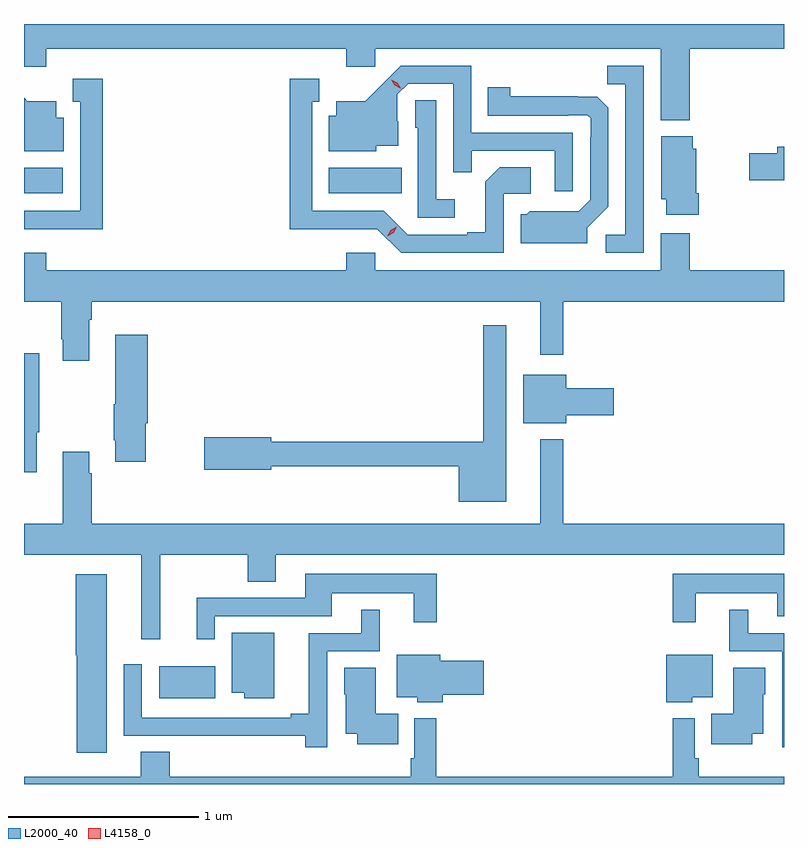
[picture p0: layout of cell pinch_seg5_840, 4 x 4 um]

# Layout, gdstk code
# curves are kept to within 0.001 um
import gdstk
lib = gdstk.Library(unit=1e-6, precision=1e-09)
def R(c, l, rs):  # rectangles x0, y0, x1, y1
    for r in rs: c.add(gdstk.rectangle(r[:2], r[2:], *l))
def P(c, l, *ps):  # polygons
    for p in ps: c.add(gdstk.Polygon(p, *l))
L2000_40 = (2000, 40)
L4158_0 = (4158, 0)

pinch_seg5_840 = lib.new_cell('pinch_seg5_840')
R(pinch_seg5_840, L2000_40, [(794.045,886.64,794.338,886.81), (793.332,889.298,793.537,889.432), (794.936,889.298,795.32,889.432)])
P(pinch_seg5_840, L2000_40, [(796.835,890.06),(797.332,890.06),(797.332,890.189),(793.332,890.189),(793.332,889.965),(793.448,889.965),(793.448,890.06),(795.029,890.06),(795.029,889.965),(795.18,889.965),(795.18,890.06),(796.682,890.06),(796.682,889.682),(796.835,889.682)],
  [(796.221,889.617),(795.687,889.617),(795.687,889.968),(795.314,889.968),(795.127,889.783),(794.975,889.783),(794.975,889.705),(794.936,889.705),(794.936,889.52),(795.186,889.52),(795.186,889.547),(795.301,889.547),(795.301,889.676),(795.297,889.676),(795.297,889.818),(795.354,889.875),(795.591,889.875),(795.591,889.408),(795.689,889.408),(795.689,889.521),(796.125,889.521),(796.125,889.308),(796.221,889.308)],
  [(796.593,889.968),(796.402,889.968),(796.402,889.873),(796.497,889.873),(796.497,889.08),(796.395,889.08),(796.395,888.984),(796.593,888.984)],
  [(795.858,889.296),(796,889.296),(796,889.436),(795.835,889.436),(795.759,889.36),(795.759,889.093),(795.665,889.093),(795.665,889.08),(795.351,889.08),(795.225,889.206),(794.848,889.206),(794.848,889.779),(794.887,889.779),(794.887,889.9),(794.73,889.9),(794.73,889.109),(795.192,889.11),(795.318,888.984),(795.858,888.984)],
  [(793.747,889.9),(793.589,889.9),(793.589,889.779),(793.628,889.779),(793.628,889.206),(793.332,889.206),(793.332,889.11),(793.506,889.11),(793.506,889.109),(793.747,889.109)],
  [(796.297,889.116),(796.407,889.226),(796.407,889.748),(796.348,889.807),(795.891,889.808),(795.891,889.855),(795.772,889.855),(795.772,889.707),(796.196,889.707),(796.196,889.71),(796.296,889.71),(796.314,889.692),(796.314,889.592),(796.311,889.592),(796.311,889.263),(796.251,889.203),(795.994,889.204),(795.978,889.188),(795.947,889.188),(795.947,889.034),(796.297,889.034)],
  [(793.54,889.696),(793.501,889.696),(793.501,889.783),(793.349,889.783),(793.332,889.8),(793.332,889.52),(793.54,889.52)],
  [(795.598,889.267),(795.501,889.267),(795.501,889.787),(795.39,889.787),(795.39,889.644),(795.405,889.644),(795.405,889.17),(795.598,889.17)],
  [(796.883,889.297),(796.87,889.297),(796.87,889.533),(796.852,889.533),(796.852,889.597),(796.685,889.597),(796.685,889.266),(796.712,889.266),(796.712,889.185),(796.883,889.185)],
  [(797.332,889.544),(797.297,889.544),(797.297,889.508),(797.148,889.508),(797.148,889.366),(797.332,889.366)],
  [(793.675,888.632),(793.688,888.632),(793.688,888.728),(796.049,888.728),(796.049,888.447),(796.171,888.447),(796.171,888.728),(797.332,888.728),(797.332,888.892),(796.835,888.892),(796.835,889.087),(796.682,889.087),(796.682,888.892),(795.18,888.892),(795.18,888.985),(795.029,888.985),(795.029,888.892),(793.448,888.892),(793.448,888.985),(793.332,888.985),(793.332,888.728),(793.528,888.728),(793.528,888.529),(793.535,888.529),(793.535,888.417),(793.675,888.417)],
  [(795.871,888.604),(795.75,888.604),(795.75,887.99),(794.632,887.99),(794.632,888.014),(794.28,888.014),(794.28,887.843),(794.632,887.843),(794.632,887.862),(795.62,887.862),(795.62,887.675),(795.871,887.675)],
  [(793.974,888.087),(793.984,888.087),(793.984,888.553),(793.811,888.553),(793.811,888.187),(793.804,888.187),(793.804,887.998),(793.811,887.998),(793.811,887.886),(793.974,887.886)],
  [(793.399,888.041),(793.411,888.041),(793.411,888.457),(793.332,888.457),(793.332,887.829),(793.399,887.829)],
  [(796.186,888.131),(796.435,888.131),(796.435,888.273),(796.186,888.273),(796.186,888.343),(795.959,888.343),(795.959,888.089),(796.186,888.089)],
  [(793.535,887.938),(793.535,887.56),(793.332,887.56),(793.332,887.396),(793.949,887.396),(793.949,886.95),(794.048,886.95),(794.048,887.396),(794.509,887.396),(794.509,887.254),(794.656,887.254),(794.656,887.396),(797.332,887.396),(797.332,887.56),(796.171,887.56),(796.171,888.004),(796.049,888.004),(796.049,887.56),(793.688,887.56),(793.688,887.825),(793.675,887.825),(793.675,887.938)],
  [(794.337,887.073),(794.953,887.073),(794.953,887.192),(795.383,887.192),(795.383,887.04),(795.505,887.04),(795.505,887.296),(794.813,887.296),(794.813,887.169),(794.24,887.169),(794.24,886.95),(794.337,886.95)],
  [(796.867,887.192),(797.297,887.192),(797.297,887.073),(797.332,887.073),(797.332,887.296),(796.746,887.296),(796.746,887.04),(796.867,887.04)],
  [(793.768,887.293),(793.604,887.293),(793.604,886.866),(793.61,886.866),(793.61,886.353),(793.768,886.353)],
  [(794.928,886.887),(795.205,886.887),(795.205,887.107),(795.107,887.107),(795.107,886.983),(794.831,886.983),(794.831,886.559),(794.735,886.559),(794.735,886.539),(793.953,886.539),(793.953,886.819),(793.857,886.819),(793.857,886.443),(794.182,886.443),(794.182,886.442),(794.812,886.442),(794.812,886.383),(794.928,886.383)],
  [(797.332,886.983),(797.143,886.983),(797.143,887.107),(797.045,887.107),(797.045,886.887),(797.322,886.887),(797.322,886.383),(797.332,886.383)],
  [(794.65,886.984),(794.426,886.984),(794.426,886.67),(794.492,886.67),(794.492,886.64),(794.65,886.64)],
  [(795.536,886.66),(795.751,886.66),(795.751,886.838),(795.523,886.838),(795.523,886.87),(795.293,886.87),(795.293,886.646),(795.402,886.646),(795.402,886.619),(795.536,886.619)],
  [(796.848,886.646),(796.957,886.646),(796.957,886.87),(796.712,886.87),(796.712,886.619),(796.848,886.619)],
  [(795.302,886.558),(795.184,886.558),(795.184,886.802),(795.017,886.802),(795.017,886.662),(795.026,886.662),(795.026,886.454),(795.086,886.454),(795.086,886.397),(795.302,886.397)],
  [(797.164,886.454),(797.224,886.454),(797.224,886.662),(797.233,886.662),(797.233,886.802),(797.066,886.802),(797.066,886.558),(796.948,886.558),(796.948,886.397),(797.164,886.397)],
  [(797.332,886.228),(796.883,886.228),(796.883,886.324),(796.863,886.324),(796.863,886.534),(796.747,886.534),(796.747,886.228),(795.503,886.228),(795.503,886.534),(795.387,886.534),(795.387,886.324),(795.367,886.324),(795.367,886.228),(794.099,886.228),(794.099,886.358),(793.946,886.358),(793.946,886.228),(793.332,886.228),(793.332,886.189),(797.332,886.189)])
P(pinch_seg5_840, L4158_0, [(795.313,889.851),(795.283,889.866),(795.265,889.896),(795.265,889.896),(795.266,889.896),(795.296,889.881),(795.314,889.851),(795.314,889.851)],
  [(795.245,889.071),(795.245,889.072),(795.262,889.104),(795.294,889.123),(795.294,889.123),(795.294,889.123),(795.277,889.091),(795.245,889.071)])

lib.write_gds('pinch_seg5_840.gds')
